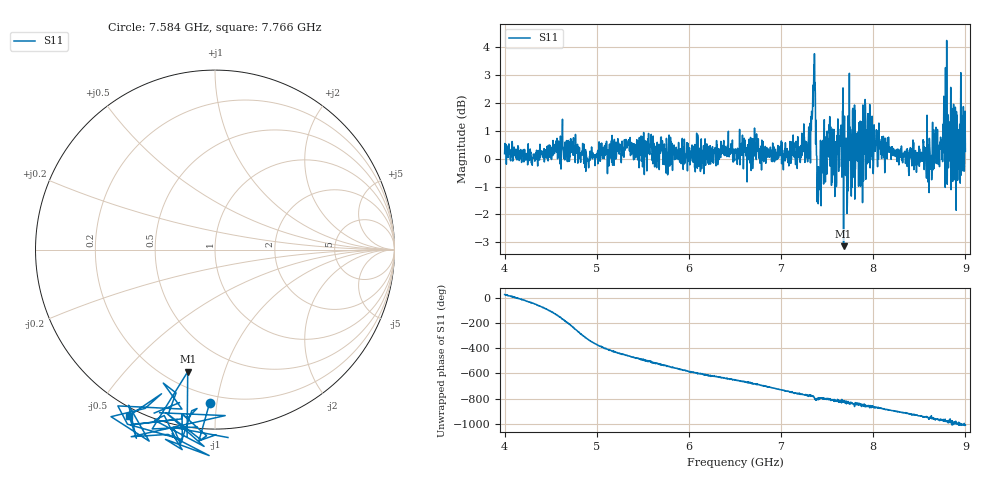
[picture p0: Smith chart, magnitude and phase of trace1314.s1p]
! Created with skrf 1.8.0 (http://scikit-rf.org).
# Hz S RI R 50.0
!freq ReS11 ImS11
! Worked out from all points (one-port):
!   1601 points, 4 GHz to 9 GHz, reference 50 ohm
!   lowest |S11| = -3.1 dB at 7.678 GHz (marker M1), VSWR 5.60, Z = 14.4 - j38 ohm
!   |S11| at or under -10 dB: nowhere
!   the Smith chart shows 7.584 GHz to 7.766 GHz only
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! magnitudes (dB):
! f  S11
! 4 GHz  0.2
! 4.312 GHz  0.2
! 4.625 GHz  0.9
! 4.894 GHz  0.0
! 5.25 GHz  0.5
! 5.875 GHz  0.1
! 6.5 GHz  0.3
! 7.125 GHz  0.3
! 7.294 GHz  0.5
! 7.347 GHz  2.6
! 7.366 GHz  2.6
! 7.397 GHz  -0.5
! 7.409 GHz  -0.3
! 7.519 GHz  0.5
! 7.578 GHz  -0.5
! 7.647 GHz  0.8
! 7.678 GHz  -3.1
! 7.703 GHz  0.6
! 7.75 GHz  -0.1
! 7.784 GHz  0.5
! 7.962 GHz  1.9
! 8.375 GHz  0.2
! 8.612 GHz  0.4
! 8.666 GHz  0.5
! 8.788 GHz  -0.6
! 8.875 GHz  0.4
! 8.972 GHz  0.7
! 9 GHz  0.3
